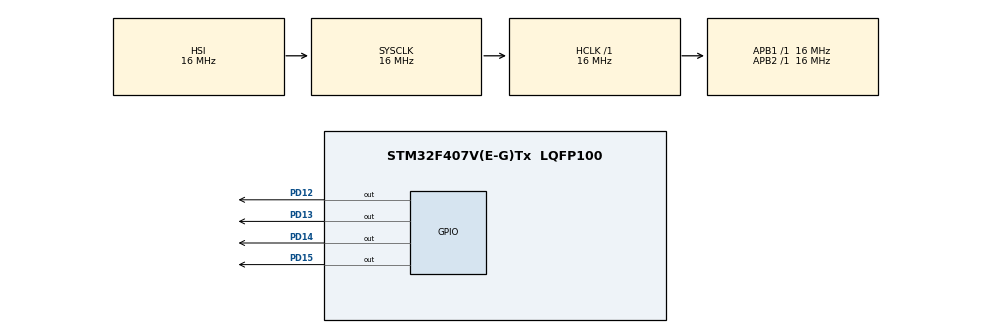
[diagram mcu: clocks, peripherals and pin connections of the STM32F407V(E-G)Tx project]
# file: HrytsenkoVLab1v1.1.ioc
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Mcu.Family=STM32F4
Mcu.Name=STM32F407V(E-G)Tx
Mcu.Package=LQFP100
NVIC.PriorityGroup=NVIC_PRIORITYGROUP_4
PD12.Signal=GPIO_Output
PD13.Signal=GPIO_Output
PD14.Signal=GPIO_Output
PD15.Signal=GPIO_Output
ProjectManager.HeapSize=0x200
ProjectManager.StackSize=0x400
ProjectManager.TargetToolchain=STM32CubeIDE
RCC.AHBFreq_Value=16000000
RCC.APB1Freq_Value=16000000
RCC.APB2Freq_Value=16000000
RCC.CortexFreq_Value=16000000
RCC.HSE_VALUE=25000000
RCC.HSI_VALUE=16000000
RCC.LSE_VALUE=32768
RCC.SYSCLKFreq_VALUE=16000000
RCC.VCOOutputFreq_Value=192000000
board=custom

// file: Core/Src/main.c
/* USER CODE BEGIN Header */
/**
  ******************************************************************************
  * @file           : main.c
  * @brief          : Main program body
  ******************************************************************************
  * @attention
  *
  * Copyright (c) 2025 STMicroelectronics.
  * All rights reserved.
  *
  * This software is licensed under terms that can be found in the LICENSE file
  * in the root directory of this software component.
  * If no LICENSE file comes with this software, it is provided AS-IS.
  *
  ******************************************************************************
  */
/* USER CODE END Header */
#include "main.h"

void SystemClock_Config(void);
static void MX_GPIO_Init(void);

int main(void)
{

  /* MCU Configuration--------------------------------------------------------*/

  /* Reset of all peripherals, Initializes the Flash interface and the Systick. */
  HAL_Init();

  /* Configure the system clock */
  SystemClock_Config();

  /* Initialize all configured peripherals */
  MX_GPIO_Init();

  /* Infinite loop */
  /* USER CODE BEGIN WHILE */
  while (1)
  {
	  /*turning on the green LED*/
	  HAL_GPIO_WritePin(GPIOD, GPIO_PIN_12, GPIO_PIN_SET);
	  HAL_Delay(200);
	  /*turning on the orange LED*/
	  HAL_GPIO_WritePin(GPIOD, GPIO_PIN_13, GPIO_PIN_SET);
	  HAL_Delay(200);
	  /*turning on the red LED*/
	  HAL_GPIO_WritePin(GPIOD, GPIO_PIN_14, GPIO_PIN_SET);
	  HAL_Delay(200);
	  /*turning on the blue LED*/
	  HAL_GPIO_WritePin(GPIOD, GPIO_PIN_15, GPIO_PIN_SET);
	  HAL_Delay(200);
	  /*turn off the green LED*/
	  HAL_GPIO_WritePin(GPIOD, GPIO_PIN_12, GPIO_PIN_RESET);
	  HAL_Delay(200);
	  /*turn off the orange LED*/
	  HAL_GPIO_WritePin(GPIOD, GPIO_PIN_13, GPIO_PIN_RESET);
	  HAL_Delay(200);
	  /*turn off the red LED*/
	  HAL_GPIO_WritePin(GPIOD, GPIO_PIN_14, GPIO_PIN_RESET);
	  HAL_Delay(200);
	  /*turn off the blue LED*/
	  HAL_GPIO_WritePin(GPIOD, GPIO_PIN_15, GPIO_PIN_RESET);
	  HAL_Delay(200);

    /* USER CODE END WHILE */

  }
}

void SystemClock_Config(void)
{
  RCC_OscInitTypeDef RCC_OscInitStruct = {0};
  RCC_ClkInitTypeDef RCC_ClkInitStruct = {0};

  /** Configure the main internal regulator output voltage
  */
  __HAL_RCC_PWR_CLK_ENABLE();
  __HAL_PWR_VOLTAGESCALING_CONFIG(PWR_REGULATOR_VOLTAGE_SCALE1);

  /** Initializes the RCC Oscillators according to the specified parameters
  * in the RCC_OscInitTypeDef structure.
  */
  RCC_OscInitStruct.OscillatorType = RCC_OSCILLATORTYPE_HSI;
  RCC_OscInitStruct.HSIState = RCC_HSI_ON;
  RCC_OscInitStruct.HSICalibrationValue = RCC_HSICALIBRATION_DEFAULT;
  RCC_OscInitStruct.PLL.PLLState = RCC_PLL_NONE;
  if (HAL_RCC_OscConfig(&RCC_OscInitStruct) != HAL_OK)
  {
    Error_Handler();
  }

  /** Initializes the CPU, AHB and APB buses clocks
  */
  RCC_ClkInitStruct.ClockType = RCC_CLOCKTYPE_HCLK|RCC_CLOCKTYPE_SYSCLK
                              |RCC_CLOCKTYPE_PCLK1|RCC_CLOCKTYPE_PCLK2;
  RCC_ClkInitStruct.SYSCLKSource = RCC_SYSCLKSOURCE_HSI;
  RCC_ClkInitStruct.AHBCLKDivider = RCC_SYSCLK_DIV1;
  RCC_ClkInitStruct.APB1CLKDivider = RCC_HCLK_DIV1;
  RCC_ClkInitStruct.APB2CLKDivider = RCC_HCLK_DIV1;

  if (HAL_RCC_ClockConfig(&RCC_ClkInitStruct, FLASH_LATENCY_0) != HAL_OK)
  {
    Error_Handler();
  }
}

static void MX_GPIO_Init(void)
{
  GPIO_InitTypeDef GPIO_InitStruct = {0};

  /* GPIO Ports Clock Enable */
  __HAL_RCC_GPIOD_CLK_ENABLE();

  /*Configure GPIO pin Output Level */
  HAL_GPIO_WritePin(GPIOD, GPIO_PIN_12|GPIO_PIN_13|GPIO_PIN_14|GPIO_PIN_15, GPIO_PIN_RESET);

  /*Configure GPIO pins : PD12 PD13 PD14 PD15 */
  GPIO_InitStruct.Pin = GPIO_PIN_12|GPIO_PIN_13|GPIO_PIN_14|GPIO_PIN_15;
  GPIO_InitStruct.Mode = GPIO_MODE_OUTPUT_PP;
  GPIO_InitStruct.Pull = GPIO_NOPULL;
  GPIO_InitStruct.Speed = GPIO_SPEED_FREQ_LOW;
  HAL_GPIO_Init(GPIOD, &GPIO_InitStruct);

}

void Error_Handler(void)
{
  __disable_irq();
  while (1)
  {
  }
}
